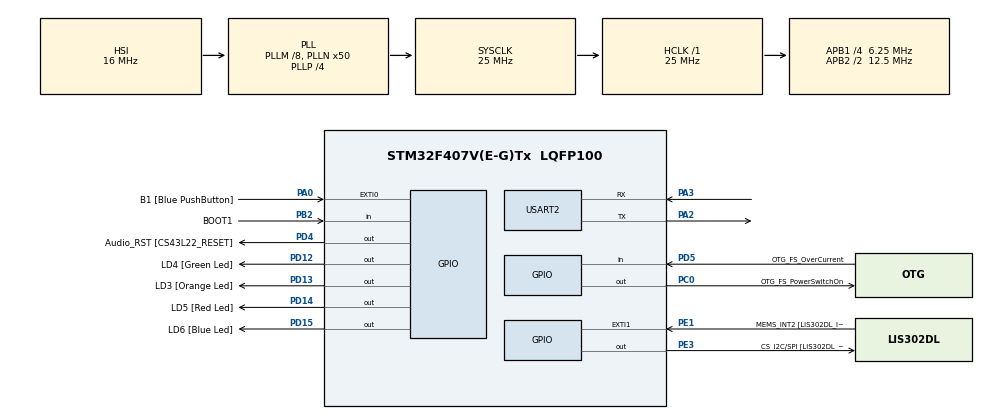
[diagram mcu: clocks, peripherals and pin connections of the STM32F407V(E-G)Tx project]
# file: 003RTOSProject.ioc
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Mcu.Family=STM32F4
Mcu.Name=STM32F407V(E-G)Tx
Mcu.Package=LQFP100
NVIC.PriorityGroup=NVIC_PRIORITYGROUP_4
NVIC.TIM6_DAC_IRQn=true\:0\:0\:false\:false\:true\:false\:true\:true
NVIC.TimeBase=TIM6_DAC_IRQn
NVIC.TimeBaseIP=TIM6
NVIC.USART2_IRQn=true\:0\:0\:false\:false\:true\:true\:true\:true
PA0-WKUP.GPIO_Label=B1 [Blue PushButton]
PA0-WKUP.Signal=GPXTI0
PA10.GPIO_Label=OTG_FS_ID
PA10.GPIO_Mode=GPIO_MODE_AF_PP
PA10.GPIO_PuPd=GPIO_NOPULL
PA10.GPIO_Speed=GPIO_SPEED_FREQ_LOW
PA10.Signal=USB_OTG_FS_ID
PA11.GPIO_Label=OTG_FS_DM
PA11.GPIO_Mode=GPIO_MODE_AF_PP
PA11.GPIO_PuPd=GPIO_NOPULL
PA11.GPIO_Speed=GPIO_SPEED_FREQ_LOW
PA11.Signal=USB_OTG_FS_DM
PA12.GPIO_Label=OTG_FS_DP
PA12.GPIO_Mode=GPIO_MODE_AF_PP
PA12.GPIO_PuPd=GPIO_NOPULL
PA12.GPIO_Speed=GPIO_SPEED_FREQ_LOW
PA12.Signal=USB_OTG_FS_DP
PA13.GPIO_Label=SWDIO
PA13.Signal=SYS_JTMS-SWDIO
PA14.GPIO_Label=SWCLK
PA14.Signal=SYS_JTCK-SWCLK
PA2.Mode=Asynchronous
PA2.Signal=USART2_TX
PA3.Mode=Asynchronous
PA3.Signal=USART2_RX
PA4.GPIO_Label=I2S3_WS [CS43L22_LRCK]
PA4.GPIO_Mode=GPIO_MODE_AF_PP
PA4.GPIO_PuPd=GPIO_NOPULL
PA4.GPIO_Speed=GPIO_SPEED_FREQ_LOW
PA4.Signal=I2S3_WS
PA5.GPIO_Label=SPI1_SCK [LIS302DL_SCL/SPC]
PA5.GPIO_Mode=GPIO_MODE_AF_PP
PA5.GPIO_PuPd=GPIO_NOPULL
PA5.GPIO_Speed=GPIO_SPEED_FREQ_LOW
PA5.Signal=SPI1_SCK
PA6.GPIO_Label=SPI1_MISO [LIS302DL_SDO]
PA6.GPIO_Mode=GPIO_MODE_AF_PP
PA6.GPIO_PuPd=GPIO_NOPULL
PA6.GPIO_Speed=GPIO_SPEED_FREQ_LOW
PA6.Signal=SPI1_MISO
PA7.GPIO_Label=SPI1_MOSI [LIS302DL_SDA/SDI/SDO]
PA7.GPIO_Mode=GPIO_MODE_AF_PP
PA7.GPIO_PuPd=GPIO_NOPULL
PA7.GPIO_Speed=GPIO_SPEED_FREQ_LOW
PA7.Signal=SPI1_MOSI
PA9.GPIO_Label=VBUS_FS
PA9.GPIO_Mode=GPIO_MODE_INPUT
PA9.GPIO_PuPd=GPIO_NOPULL
PA9.Signal=USB_OTG_FS_VBUS
PB10.GPIO_Label=CLK_IN [MP45DT02_CLK]
PB10.GPIO_Mode=GPIO_MODE_AF_PP
PB10.GPIO_PuPd=GPIO_NOPULL
PB10.GPIO_Speed=GPIO_SPEED_FREQ_LOW
PB10.Signal=I2S2_CK
PB2.GPIO_Label=BOOT1
PB2.GPIO_Mode=GPIO_MODE_INPUT
PB2.GPIO_PuPd=GPIO_NOPULL
PB2.Signal=GPIO_Input
PB3.GPIO_Label=SWO
PB3.Signal=SYS_JTDO-SWO
PB6.GPIO_Label=Audio_SCL [CS43L22_SCL]
PB6.GPIO_Mode=GPIO_MODE_AF_OD
PB6.GPIO_PuPd=GPIO_NOPULL
PB6.GPIO_Speed=GPIO_SPEED_FREQ_LOW
PB6.Signal=I2C1_SCL
PB9.GPIO_Label=Audio_SDA [CS43L22_SDA]
PB9.GPIO_Mode=GPIO_MODE_AF_OD
PB9.GPIO_PuPd=GPIO_NOPULL
PB9.GPIO_Speed=GPIO_SPEED_FREQ_LOW
PB9.Signal=I2C1_SDA
PC0.GPIO_Label=OTG_FS_PowerSwitchOn
PC0.GPIO_PuPd=GPIO_NOPULL
PC0.GPIO_Speed=GPIO_SPEED_FREQ_LOW
PC0.PinState=GPIO_PIN_SET
PC0.Signal=GPIO_Output
PC10.GPIO_Label=I2S3_SCK [CS43L22_SCLK]
PC10.GPIO_Mode=GPIO_MODE_AF_PP
PC10.GPIO_PuPd=GPIO_NOPULL
PC10.GPIO_Speed=GPIO_SPEED_FREQ_LOW
PC10.Signal=I2S3_CK
PC12.GPIO_Label=I2S3_SD [CS43L22_SDIN]
PC12.GPIO_Mode=GPIO_MODE_AF_PP
PC12.GPIO_PuPd=GPIO_NOPULL
PC12.GPIO_Speed=GPIO_SPEED_FREQ_LOW
PC12.Signal=I2S3_SD
PC14-OSC32_IN.GPIO_Label=PC14-OSC32_IN
PC14-OSC32_IN.Signal=RCC_OSC32_IN
PC15-OSC32_OUT.GPIO_Label=PC15-OSC32_OUT
PC15-OSC32_OUT.Signal=RCC_OSC32_OUT
PC3.GPIO_Label=PDM_OUT [MP45DT02_DOUT]
PC3.GPIO_Mode=GPIO_MODE_AF_PP
PC3.GPIO_PuPd=GPIO_NOPULL
PC3.GPIO_Speed=GPIO_SPEED_FREQ_LOW
PC3.Signal=I2S2_SD
PC7.GPIO_Label=I2S3_MCK [CS43L22_MCLK]
PC7.GPIO_Mode=GPIO_MODE_AF_PP
PC7.GPIO_PuPd=GPIO_NOPULL
PC7.GPIO_Speed=GPIO_SPEED_FREQ_LOW
PC7.Signal=I2S3_MCK
PD12.GPIO_Label=LD4 [Green Led]
PD12.GPIO_PuPd=GPIO_NOPULL
PD12.GPIO_Speed=GPIO_SPEED_FREQ_LOW
PD12.Signal=GPIO_Output
PD13.GPIO_Label=LD3 [Orange Led]
PD13.GPIO_PuPd=GPIO_NOPULL
PD13.GPIO_Speed=GPIO_SPEED_FREQ_LOW
PD13.Signal=GPIO_Output
PD14.GPIO_Label=LD5 [Red Led]
PD14.GPIO_PuPd=GPIO_NOPULL
PD14.GPIO_Speed=GPIO_SPEED_FREQ_LOW
PD14.Signal=GPIO_Output
PD15.GPIO_Label=LD6 [Blue Led]
PD15.GPIO_PuPd=GPIO_NOPULL
PD15.GPIO_Speed=GPIO_SPEED_FREQ_LOW
PD15.Signal=GPIO_Output
PD4.GPIO_Label=Audio_RST [CS43L22_RESET]
PD4.GPIO_PuPd=GPIO_NOPULL
PD4.GPIO_Speed=GPIO_SPEED_FREQ_LOW
PD4.Signal=GPIO_Output
PD5.GPIO_Label=OTG_FS_OverCurrent
PD5.GPIO_Mode=GPIO_MODE_INPUT
PD5.GPIO_PuPd=GPIO_NOPULL
PD5.Signal=GPIO_Input
PE1.GPIO_Label=MEMS_INT2 [LIS302DL_INT2]
PE1.GPIO_ModeDefaultEXTI=GPIO_MODE_EVT_RISING
PE1.GPIO_PuPd=GPIO_NOPULL
PE1.Signal=GPXTI1
PE3.GPIO_Label=CS_I2C/SPI [LIS302DL_CS_I2C/SPI]
PE3.GPIO_PuPd=GPIO_NOPULL
PE3.GPIO_Speed=GPIO_SPEED_FREQ_LOW
PE3.Signal=GPIO_Output
PH0-OSC_IN.GPIO_Label=PH0-OSC_IN
PH0-OSC_IN.Signal=RCC_OSC_IN
PH1-OSC_OUT.GPIO_Label=PH1-OSC_OUT
PH1-OSC_OUT.Signal=RCC_OSC_OUT
ProjectManager.HeapSize=0x200
ProjectManager.StackSize=0x400
ProjectManager.TargetToolchain=STM32CubeIDE
RCC.48MHZClocksFreq_Value=14285714.285714285
RCC.AHBFreq_Value=25000000
RCC.APB1CLKDivider=RCC_HCLK_DIV4
RCC.APB1Freq_Value=6250000
RCC.APB1TimFreq_Value=12500000
RCC.APB2CLKDivider=RCC_HCLK_DIV2
RCC.APB2Freq_Value=12500000
RCC.APB2TimFreq_Value=25000000
RCC.CortexFreq_Value=25000000
RCC.HCLKFreq_Value=25000000
RCC.HSE_VALUE=8000000
RCC.HSI_VALUE=16000000
RCC.LSE_VALUE=32768
RCC.PLLM=8
RCC.PLLN=50
RCC.PLLP=RCC_PLLP_DIV4
RCC.PLLQ=7
RCC.SYSCLKFreq_VALUE=25000000
RCC.SYSCLKSource=RCC_SYSCLKSOURCE_PLLCLK
RCC.VCOOutputFreq_Value=100000000
USART2.VirtualMode=VM_ASYNC
VP_SYS_VS_tim6.Mode=TIM6
board=STM32F407G-DISC1

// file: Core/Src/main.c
/* USER CODE BEGIN Header */
/**
  ******************************************************************************
  * @file           : main.c
  * @brief          : Main program body
  ******************************************************************************
  * @attention
  *
  * Copyright (c) 2024 STMicroelectronics.
  * All rights reserved.
  *
  * This software is licensed under terms that can be found in the LICENSE file
  * in the root directory of this software component.
  * If no LICENSE file comes with this software, it is provided AS-IS.
  *
  ******************************************************************************
  */
/* USER CODE END Header */
#include "main.h"

/* USER CODE BEGIN Includes */
#include <stdint.h>
#include <string.h>
#include "stm32f4xx_hal_uart.h"
#include "FreeRTOS.h"
#include "task.h"
#include "queue.h"
/* USER CODE END Includes */

/* USER CODE BEGIN PD */
#define DWT_CTRL			(*(volatile uint32_t *) 0xE0001000U)
#define APP_STATE_MENU		1
#define APP_STATE_LED		2
#define APP_STATE_RTC		3

/* USER CODE END PD */

UART_HandleTypeDef huart2;

/* USER CODE BEGIN PV */
uint8_t RxBuf[10];
uint8_t app_state = APP_STATE_MENU;

TaskHandle_t task_handle_menu;
TaskHandle_t task_handle_led;
TaskHandle_t task_handle_rtc;
TaskHandle_t task_handle_cmd;
TaskHandle_t task_handle_print;

QueueHandle_t print_queue;

/* USER CODE END PV */

void SystemClock_Config(void);
static void MX_GPIO_Init(void);
static void MX_USART2_UART_Init(void);
/* USER CODE BEGIN PFP */
static void task_menu(void *params);
static void task_led(void *params);
static void task_rtc(void *params);
static void task_cmd(void *params);
static void task_print(void *params);
void HAL_UART_RxCpltCallback(UART_HandleTypeDef *huart);
static void process_cmd(void);
static void task_led_pattern_1(void *params);
static void task_led_pattern_2(void *params);
/* USER CODE END PFP */

int main(void)
{
  /* USER CODE BEGIN 1 */
	BaseType_t status;

  /* USER CODE END 1 */

  /* MCU Configuration--------------------------------------------------------*/

  /* Reset of all peripherals, Initializes the Flash interface and the Systick. */
  HAL_Init();

  /* Configure the system clock */
  SystemClock_Config();

  /* Initialize all configured peripherals */
  MX_GPIO_Init();
  MX_USART2_UART_Init();

  /* USER CODE BEGIN 2 */

  HAL_UART_MspInit(&huart2);

  //Enable the DWT (Data Watch Point) Cycle Count Feature
  DWT_CTRL |= (1 << 0);

  //Enabling SEGGER SYSVIEW event tracing
  SEGGER_SYSVIEW_Conf();
  SEGGER_SYSVIEW_Start();

  //HAL_UART_Receive_IT(&huart2,RxBuf,1);

  status = xTaskCreate(task_menu,"menu_task",1024,NULL,2,&task_handle_menu);
  configASSERT(status == pdPASS);

  status = xTaskCreate(task_led,"led_task",1024,NULL,2,&task_handle_led);
  configASSERT(status == pdPASS);

  status = xTaskCreate(task_rtc,"rtc_task",1024,NULL,2,&task_handle_rtc);
  configASSERT(status == pdPASS);

  status = xTaskCreate(task_cmd,"cmd_task",1024,NULL,2,&task_handle_cmd);
  configASSERT(status == pdPASS);

  status = xTaskCreate(task_print,"print_task",1024,NULL,2,&task_handle_print);
  configASSERT(status == pdPASS);

  print_queue = xQueueCreate(10,sizeof(unsigned long));
  configASSERT(print_queue != NULL);

  vTaskStartScheduler();

  /* USER CODE END 2 */

  /* Infinite loop */
  while (1)
  {

  }
}

void SystemClock_Config(void)
{
  RCC_OscInitTypeDef RCC_OscInitStruct = {0};
  RCC_ClkInitTypeDef RCC_ClkInitStruct = {0};

  /** Configure the main internal regulator output voltage
  */
  __HAL_RCC_PWR_CLK_ENABLE();
  __HAL_PWR_VOLTAGESCALING_CONFIG(PWR_REGULATOR_VOLTAGE_SCALE1);

  /** Initializes the RCC Oscillators according to the specified parameters
  * in the RCC_OscInitTypeDef structure.
  */
  RCC_OscInitStruct.OscillatorType = RCC_OSCILLATORTYPE_HSI;
  RCC_OscInitStruct.HSIState = RCC_HSI_ON;
  RCC_OscInitStruct.HSICalibrationValue = RCC_HSICALIBRATION_DEFAULT;
  RCC_OscInitStruct.PLL.PLLState = RCC_PLL_ON;
  RCC_OscInitStruct.PLL.PLLSource = RCC_PLLSOURCE_HSI;
  RCC_OscInitStruct.PLL.PLLM = 8;
  RCC_OscInitStruct.PLL.PLLN = 50;
  RCC_OscInitStruct.PLL.PLLP = RCC_PLLP_DIV4;
  RCC_OscInitStruct.PLL.PLLQ = 7;
  if (HAL_RCC_OscConfig(&RCC_OscInitStruct) != HAL_OK)
  {
    Error_Handler();
  }

  /** Initializes the CPU, AHB and APB buses clocks
  */
  RCC_ClkInitStruct.ClockType = RCC_CLOCKTYPE_HCLK|RCC_CLOCKTYPE_SYSCLK
                              |RCC_CLOCKTYPE_PCLK1|RCC_CLOCKTYPE_PCLK2;
  RCC_ClkInitStruct.SYSCLKSource = RCC_SYSCLKSOURCE_PLLCLK;
  RCC_ClkInitStruct.AHBCLKDivider = RCC_SYSCLK_DIV1;
  RCC_ClkInitStruct.APB1CLKDivider = RCC_HCLK_DIV4;
  RCC_ClkInitStruct.APB2CLKDivider = RCC_HCLK_DIV2;

  if (HAL_RCC_ClockConfig(&RCC_ClkInitStruct, FLASH_LATENCY_0) != HAL_OK)
  {
    Error_Handler();
  }
}

static void MX_USART2_UART_Init(void)
{

  huart2.Instance = USART2;
  huart2.Init.BaudRate = 115200;
  huart2.Init.WordLength = UART_WORDLENGTH_8B;
  huart2.Init.StopBits = UART_STOPBITS_1;
  huart2.Init.Parity = UART_PARITY_NONE;
  huart2.Init.Mode = UART_MODE_TX_RX;
  huart2.Init.HwFlowCtl = UART_HWCONTROL_NONE;
  huart2.Init.OverSampling = UART_OVERSAMPLING_16;
  if (HAL_UART_Init(&huart2) != HAL_OK)
  {
    Error_Handler();
  }

}

static void MX_GPIO_Init(void)
{
  GPIO_InitTypeDef GPIO_InitStruct = {0};

  /* GPIO Ports Clock Enable */
  __HAL_RCC_GPIOE_CLK_ENABLE();
  __HAL_RCC_GPIOC_CLK_ENABLE();
  __HAL_RCC_GPIOH_CLK_ENABLE();
  __HAL_RCC_GPIOA_CLK_ENABLE();
  __HAL_RCC_GPIOB_CLK_ENABLE();
  __HAL_RCC_GPIOD_CLK_ENABLE();

  /*Configure GPIO pin Output Level */
  HAL_GPIO_WritePin(CS_I2C_SPI_GPIO_Port, CS_I2C_SPI_Pin, GPIO_PIN_RESET);

  /*Configure GPIO pin Output Level */
  HAL_GPIO_WritePin(OTG_FS_PowerSwitchOn_GPIO_Port, OTG_FS_PowerSwitchOn_Pin, GPIO_PIN_SET);

  /*Configure GPIO pin Output Level */
  HAL_GPIO_WritePin(GPIOD, LD4_Pin|LD3_Pin|LD5_Pin|LD6_Pin
                          |Audio_RST_Pin, GPIO_PIN_RESET);

  /*Configure GPIO pin : CS_I2C_SPI_Pin */
  GPIO_InitStruct.Pin = CS_I2C_SPI_Pin;
  GPIO_InitStruct.Mode = GPIO_MODE_OUTPUT_PP;
  GPIO_InitStruct.Pull = GPIO_NOPULL;
  GPIO_InitStruct.Speed = GPIO_SPEED_FREQ_LOW;
  HAL_GPIO_Init(CS_I2C_SPI_GPIO_Port, &GPIO_InitStruct);

  /*Configure GPIO pin : OTG_FS_PowerSwitchOn_Pin */
  GPIO_InitStruct.Pin = OTG_FS_PowerSwitchOn_Pin;
  GPIO_InitStruct.Mode = GPIO_MODE_OUTPUT_PP;
  GPIO_InitStruct.Pull = GPIO_NOPULL;
  GPIO_InitStruct.Speed = GPIO_SPEED_FREQ_LOW;
  HAL_GPIO_Init(OTG_FS_PowerSwitchOn_GPIO_Port, &GPIO_InitStruct);

  /*Configure GPIO pin : PDM_OUT_Pin */
  GPIO_InitStruct.Pin = PDM_OUT_Pin;
  GPIO_InitStruct.Mode = GPIO_MODE_AF_PP;
  GPIO_InitStruct.Pull = GPIO_NOPULL;
  GPIO_InitStruct.Speed = GPIO_SPEED_FREQ_LOW;
  GPIO_InitStruct.Alternate = GPIO_AF5_SPI2;
  HAL_GPIO_Init(PDM_OUT_GPIO_Port, &GPIO_InitStruct);

  /*Configure GPIO pin : B1_Pin */
  GPIO_InitStruct.Pin = B1_Pin;
  GPIO_InitStruct.Mode = GPIO_MODE_IT_RISING;
  GPIO_InitStruct.Pull = GPIO_NOPULL;
  HAL_GPIO_Init(B1_GPIO_Port, &GPIO_InitStruct);

  /*Configure GPIO pin : I2S3_WS_Pin */
  GPIO_InitStruct.Pin = I2S3_WS_Pin;
  GPIO_InitStruct.Mode = GPIO_MODE_AF_PP;
  GPIO_InitStruct.Pull = GPIO_NOPULL;
  GPIO_InitStruct.Speed = GPIO_SPEED_FREQ_LOW;
  GPIO_InitStruct.Alternate = GPIO_AF6_SPI3;
  HAL_GPIO_Init(I2S3_WS_GPIO_Port, &GPIO_InitStruct);

  /*Configure GPIO pins : SPI1_SCK_Pin SPI1_MISO_Pin SPI1_MOSI_Pin */
  GPIO_InitStruct.Pin = SPI1_SCK_Pin|SPI1_MISO_Pin|SPI1_MOSI_Pin;
  GPIO_InitStruct.Mode = GPIO_MODE_AF_PP;
  GPIO_InitStruct.Pull = GPIO_NOPULL;
  GPIO_InitStruct.Speed = GPIO_SPEED_FREQ_LOW;
  GPIO_InitStruct.Alternate = GPIO_AF5_SPI1;
  HAL_GPIO_Init(GPIOA, &GPIO_InitStruct);

  /*Configure GPIO pin : BOOT1_Pin */
  GPIO_InitStruct.Pin = BOOT1_Pin;
  GPIO_InitStruct.Mode = GPIO_MODE_INPUT;
  GPIO_InitStruct.Pull = GPIO_NOPULL;
  HAL_GPIO_Init(BOOT1_GPIO_Port, &GPIO_InitStruct);

  /*Configure GPIO pin : CLK_IN_Pin */
  GPIO_InitStruct.Pin = CLK_IN_Pin;
  GPIO_InitStruct.Mode = GPIO_MODE_AF_PP;
  GPIO_InitStruct.Pull = GPIO_NOPULL;
  GPIO_InitStruct.Speed = GPIO_SPEED_FREQ_LOW;
  GPIO_InitStruct.Alternate = GPIO_AF5_SPI2;
  HAL_GPIO_Init(CLK_IN_GPIO_Port, &GPIO_InitStruct);

  /*Configure GPIO pins : LD4_Pin LD3_Pin LD5_Pin LD6_Pin
                           Audio_RST_Pin */
  GPIO_InitStruct.Pin = LD4_Pin|LD3_Pin|LD5_Pin|LD6_Pin
                          |Audio_RST_Pin;
  GPIO_InitStruct.Mode = GPIO_MODE_OUTPUT_PP;
  GPIO_InitStruct.Pull = GPIO_NOPULL;
  GPIO_InitStruct.Speed = GPIO_SPEED_FREQ_LOW;
  HAL_GPIO_Init(GPIOD, &GPIO_InitStruct);

  /*Configure GPIO pins : I2S3_MCK_Pin I2S3_SCK_Pin I2S3_SD_Pin */
  GPIO_InitStruct.Pin = I2S3_MCK_Pin|I2S3_SCK_Pin|I2S3_SD_Pin;
  GPIO_InitStruct.Mode = GPIO_MODE_AF_PP;
  GPIO_InitStruct.Pull = GPIO_NOPULL;
  GPIO_InitStruct.Speed = GPIO_SPEED_FREQ_LOW;
  GPIO_InitStruct.Alternate = GPIO_AF6_SPI3;
  HAL_GPIO_Init(GPIOC, &GPIO_InitStruct);

  /*Configure GPIO pin : VBUS_FS_Pin */
  GPIO_InitStruct.Pin = VBUS_FS_Pin;
  GPIO_InitStruct.Mode = GPIO_MODE_INPUT;
  GPIO_InitStruct.Pull = GPIO_NOPULL;
  HAL_GPIO_Init(VBUS_FS_GPIO_Port, &GPIO_InitStruct);

  /*Configure GPIO pins : OTG_FS_ID_Pin OTG_FS_DM_Pin OTG_FS_DP_Pin */
  GPIO_InitStruct.Pin = OTG_FS_ID_Pin|OTG_FS_DM_Pin|OTG_FS_DP_Pin;
  GPIO_InitStruct.Mode = GPIO_MODE_AF_PP;
  GPIO_InitStruct.Pull = GPIO_NOPULL;
  GPIO_InitStruct.Speed = GPIO_SPEED_FREQ_LOW;
  GPIO_InitStruct.Alternate = GPIO_AF10_OTG_FS;
  HAL_GPIO_Init(GPIOA, &GPIO_InitStruct);

  /*Configure GPIO pin : OTG_FS_OverCurrent_Pin */
  GPIO_InitStruct.Pin = OTG_FS_OverCurrent_Pin;
  GPIO_InitStruct.Mode = GPIO_MODE_INPUT;
  GPIO_InitStruct.Pull = GPIO_NOPULL;
  HAL_GPIO_Init(OTG_FS_OverCurrent_GPIO_Port, &GPIO_InitStruct);

  /*Configure GPIO pins : Audio_SCL_Pin Audio_SDA_Pin */
  GPIO_InitStruct.Pin = Audio_SCL_Pin|Audio_SDA_Pin;
  GPIO_InitStruct.Mode = GPIO_MODE_AF_OD;
  GPIO_InitStruct.Pull = GPIO_NOPULL;
  GPIO_InitStruct.Speed = GPIO_SPEED_FREQ_LOW;
  GPIO_InitStruct.Alternate = GPIO_AF4_I2C1;
  HAL_GPIO_Init(GPIOB, &GPIO_InitStruct);

  /*Configure GPIO pin : MEMS_INT2_Pin */
  GPIO_InitStruct.Pin = MEMS_INT2_Pin;
  GPIO_InitStruct.Mode = GPIO_MODE_EVT_RISING;
  GPIO_InitStruct.Pull = GPIO_NOPULL;
  HAL_GPIO_Init(MEMS_INT2_GPIO_Port, &GPIO_InitStruct);

}

/* USER CODE BEGIN 4 */

static void task_menu(void *params)
{
	char *menu_msg = "\r\nMain Menu\r\n1. LED Control\r\n2. RTC Control\r\nEnter Choice: ";

    while(1)
    {
    	xQueueSend(print_queue,&menu_msg,portMAX_DELAY);
    	HAL_UART_Receive_IT(&huart2,RxBuf,1);
    	xTaskNotifyWait(0,0,NULL,portMAX_DELAY);
    }
}

static void task_led(void *params)
{
	char *msg = "\r\n LED Control\r\nChoose Pattern 1 or Pattern 2 (0 to Exit): ";
	BaseType_t status;
	uint8_t task_handle_led_pattern_1_created = 0;
	uint8_t task_handle_led_pattern_2_created = 0;
	TaskHandle_t task_handle_led_pattern_1;
	TaskHandle_t task_handle_led_pattern_2;

    while(1)
    {
    	if(app_state != APP_STATE_LED)
    	{
    		xTaskNotifyWait(0,0,NULL,portMAX_DELAY);
    	}
    	else
    	{
    		xQueueSend(print_queue,&msg,portMAX_DELAY);
    		HAL_UART_Receive_IT(&huart2,RxBuf,1);
    		xTaskNotifyWait(0,0,NULL,portMAX_DELAY);
    		if(RxBuf[0] == '1')
    		{
    			if(task_handle_led_pattern_1_created == 0)
    			{
    				status = xTaskCreate(task_led_pattern_1,"led_pattern_1",1024,NULL,1,&task_handle_led_pattern_1);
    				configASSERT(status == pdPASS);
    				task_handle_led_pattern_1_created = 1;
    				if(task_handle_led_pattern_2_created == 1)
    				{
    					vTaskSuspend(task_handle_led_pattern_2);
    				}
    			}
    			else
    			{
    				if(task_handle_led_pattern_2_created == 1)
    				{
    				    vTaskSuspend(task_handle_led_pattern_2);
    				}

    				vTaskResume(task_handle_led_pattern_1);
    			}
    		}
    		else if(RxBuf[0] == '2')
			{
    			if(task_handle_led_pattern_2_created == 0)
    			{
    				status = xTaskCreate(task_led_pattern_2,"led_pattern_2",1024,NULL,1,&task_handle_led_pattern_2);
    				configASSERT(status == pdPASS);

    				task_handle_led_pattern_2_created = 1;
    				if(task_handle_led_pattern_1_created == 1)
    				{
    					vTaskSuspend(task_handle_led_pattern_1);
    				}
    			}
    			else
    			{
    				if(task_handle_led_pattern_1_created == 1)
    				{
    				    vTaskSuspend(task_handle_led_pattern_1);
    				}

    				vTaskResume(task_handle_led_pattern_2);
    			}
			}
    		else if(RxBuf[0] == '0')
    		{
    		   //Return to Menu Task
    			app_state = APP_STATE_MENU;
    			xTaskNotify(task_handle_menu,0,eNoAction);
    			xTaskNotifyWait(0,0,NULL,portMAX_DELAY);
    		}
    		else
    		{

    		}
    	}

    }
}

static void task_rtc(void *params)
{
    while(1)
    {
    	char *msg = "\r\n RTC Menu\r\nChoose 1 or 2 (0 to Exit): ";

        while(1)
        {
        	if(app_state != APP_STATE_RTC)
        	{
        		xTaskNotifyWait(0,0,NULL,portMAX_DELAY);
        	}
        	else
        	{
        		xQueueSend(print_queue,&msg,portMAX_DELAY);
        		HAL_UART_Receive_IT(&huart2,RxBuf,1);
        		xTaskNotifyWait(0,0,NULL,portMAX_DELAY);
        		if((char) RxBuf[0] == '1')
        		{

        		}
        		else if((char) RxBuf[0] == '2')
    			{

    			}
        		else if((char) RxBuf[0] == '0')
        		{
        		   //Return to Menu Task
        			app_state = APP_STATE_MENU;
        			xTaskNotify(task_handle_menu,0,eNoAction);
        			xTaskNotifyWait(0,0,NULL,portMAX_DELAY);
        		}
        		else
        		{

        		}
        	}

        }
    }
}

static void task_cmd(void *params)
{
	while(1)
	{
		xTaskNotifyWait(0,0,NULL,portMAX_DELAY);
		process_cmd();
	}
}

static void process_cmd(void)
{
	if(app_state == APP_STATE_MENU)
	{
		if(RxBuf[0] == '1')
		{
			app_state = APP_STATE_LED;
			xTaskNotify(task_handle_led,0,eNoAction);
		}
		else if(RxBuf[0] == '2')
		{
			app_state = APP_STATE_RTC;
			xTaskNotify(task_handle_rtc,0,eNoAction);
		}
		else
		{
			xTaskNotify(task_handle_menu,0,eNoAction);
		}
	}
	else if(app_state == APP_STATE_LED)
	{
		xTaskNotify(task_handle_led,0,eNoAction);
	}
	else if(app_state == APP_STATE_RTC)
	{
		xTaskNotify(task_handle_rtc,0,eNoAction);
	}
}

static void task_print(void *params)
{

	uint8_t *msg;

	while(1)
	{
		if(print_queue != NULL)
		{
			if(xQueueReceive(print_queue,&msg,portMAX_DELAY) == pdTRUE)
			{
				HAL_UART_Transmit(&huart2,(uint8_t *)msg,strlen((char *)msg),HAL_MAX_DELAY);
			}

		}
	}
}

void HAL_UART_RxCpltCallback(UART_HandleTypeDef *huart)
{
	xTaskNotifyFromISR(task_handle_cmd,0,eNoAction,NULL);
}

static void task_led_pattern_1(void *params)
{
	while(1)
	{
		HAL_GPIO_WritePin(GPIOD,LD3_Pin,0);
		HAL_GPIO_WritePin(GPIOD,LD5_Pin,0);
		HAL_GPIO_TogglePin(GPIOD,LD4_Pin);
		HAL_GPIO_TogglePin(GPIOD,LD6_Pin);
		vTaskDelay(250);
	}
}

static void task_led_pattern_2(void *params)
{
	while(1)
	{
		HAL_GPIO_WritePin(GPIOD,LD4_Pin,0);
		HAL_GPIO_WritePin(GPIOD,LD6_Pin,0);
		HAL_GPIO_TogglePin(GPIOD,LD3_Pin);
		HAL_GPIO_TogglePin(GPIOD,LD5_Pin);
		vTaskDelay(250);
	}
}

/* USER CODE END 4 */

void HAL_TIM_PeriodElapsedCallback(TIM_HandleTypeDef *htim)
{
  if (htim->Instance == TIM6) {
    HAL_IncTick();
  }
}

void Error_Handler(void)
{
  __disable_irq();
  while (1)
  {
  }
}
